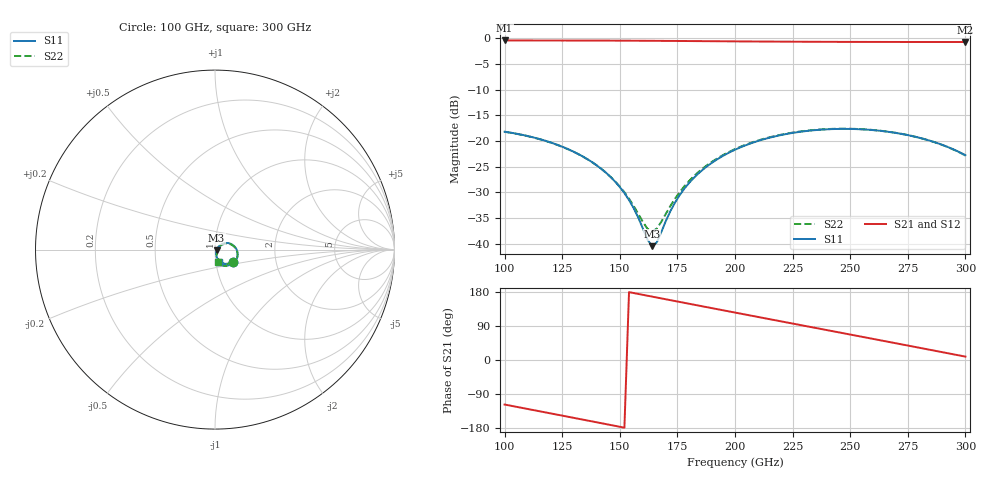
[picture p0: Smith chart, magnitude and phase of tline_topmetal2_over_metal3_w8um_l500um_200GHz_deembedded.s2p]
! Created with skrf 2.2.0 (http://scikit-rf.org).
# GHz S DB R 50.0
! Port[1] = P1
! Port[2] = P2
!freq dBS11 angS11 dBS21 angS21 dBS12 angS12 dBS22 angS22
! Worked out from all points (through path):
!   101 points, 100 GHz to 300 GHz, reference 50 ohm
!   highest |S21| = -0.44 dB at 100 GHz (marker M1); lowest = -0.7 dB at 300 GHz (marker M2)
!   group delay of S21, straight-line fit = 3.24 ps
!   lowest |S11| = -40.5 dB at 164 GHz (marker M3), VSWR 1.02, Z = 50.9 - j0.372 ohm
!   |S11| at or under -10 dB: start of sweep to end of sweep
!   |S22| runs from -37.6 to -17.6 dB; largest |S21 - S12| = 1.6e-13
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100  -18.19 -34.5  -0.44 -117.6  -0.44 -117.6  -18.21 -33.9
118  -20.00 -52.8  -0.45 -138.6  -0.45 -138.6  -20.02 -51.6
134  -23.03 -67.8  -0.46 -157.4  -0.46 -157.4  -23.05 -65.7
142  -25.42 -74.0  -0.46 -166.8  -0.46 -166.8  -25.42 -70.9
150  -28.96 -77.4  -0.47 -176.2  -0.47 -176.2  -28.86 -72.3
156  -33.06 -74.1  -0.49 176.7  -0.49 176.7  -32.62 -65.9
162  -39.17 -46.6  -0.50 169.7  -0.50 169.7  -37.07 -36.9
164  -40.46 -22.7  -0.50 167.3  -0.50 167.3  -37.62 -18.8
166  -39.76 3.3  -0.51 164.9  -0.51 164.9  -37.07 -0.6
168  -37.72 21.2  -0.51 162.6  -0.51 162.6  -35.73 13.4
172  -33.61 36.6  -0.53 157.9  -0.53 157.9  -32.61 28.5
174  -31.95 39.4  -0.53 155.5  -0.53 155.5  -31.20 32.0
180  -28.20 40.8  -0.55 148.5  -0.55 148.5  -27.81 35.1
188  -24.88 36.5  -0.58 139.2  -0.58 139.2  -24.66 32.2
200  -21.70 26.1  -0.62 125.2  -0.62 125.2  -21.58 22.8
210  -19.99 16.2  -0.64 113.6  -0.64 113.6  -19.90 13.3
218  -19.04 7.9  -0.66 104.3  -0.66 104.3  -18.96 5.2
234  -17.92 -8.8  -0.69 85.7  -0.69 85.7  -17.86 -11.3
250  -17.66 -25.5  -0.72 67.2  -0.72 67.2  -17.62 -27.9
268  -18.31 -43.8  -0.73 46.3  -0.73 46.3  -18.29 -46.3
284  -19.86 -59.1  -0.74 27.7  -0.74 27.7  -19.87 -61.9
300  -22.77 -72.2  -0.74 8.9  -0.74 8.9  -22.82 -75.7
